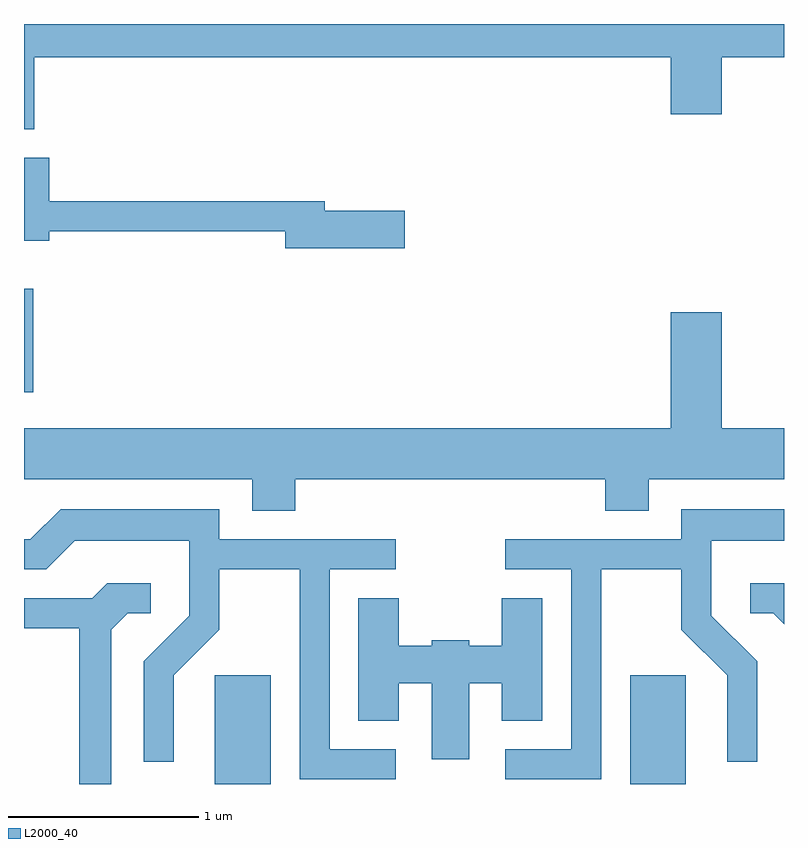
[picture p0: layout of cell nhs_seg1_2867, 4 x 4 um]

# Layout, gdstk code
import gdstk
lib = gdstk.Library(unit=1e-6, precision=1e-09)
def R(c, l, rs):  # rectangles x0, y0, x1, y1
    for r in rs: c.add(gdstk.rectangle(r[:2], r[2:], *l))
def P(c, l, *ps):  # polygons
    for p in ps: c.add(gdstk.Polygon(p, *l))
L2000_40 = (2000, 40)

nhs_seg1_2867 = lib.new_cell('nhs_seg1_2867')
R(nhs_seg1_2867, L2000_40, [(272.616,935.712,272.909,936.284), (274.801,935.712,275.094,936.284), (271.611,937.773,271.659,938.319)])
P(nhs_seg1_2867, L2000_40, [(271.664,939.536),(275.016,939.536),(275.016,939.236),(275.284,939.236),(275.284,939.536),(275.611,939.536),(275.611,939.712),(271.611,939.712),(271.611,939.158),(271.664,939.158)],
  [(273.614,938.729),(273.194,938.729),(273.194,938.779),(271.744,938.779),(271.744,939.009),(271.611,939.009),(271.611,938.571),(271.744,938.571),(271.744,938.621),(272.986,938.621),(272.986,938.531),(273.614,938.531)],
  [(273.039,937.316),(274.671,937.316),(274.671,937.151),(274.899,937.151),(274.899,937.316),(275.611,937.316),(275.611,937.584),(275.284,937.584),(275.284,938.194),(275.016,938.194),(275.016,937.584),(271.611,937.584),(271.611,937.316),(272.811,937.316),(272.811,937.151),(273.039,937.151)],
  [(274.649,936.841),(275.071,936.841),(275.071,936.524),(275.311,936.284),(275.311,935.828),(275.469,935.828),(275.469,936.357),(275.229,936.597),(275.229,936.991),(275.611,936.991),(275.611,937.159),(275.071,937.159),(275.071,936.999),(274.143,936.999),(274.143,936.841),(274.491,936.841),(274.491,935.894),(274.143,935.894),(274.143,935.736),(274.649,935.736)],
  [(273.568,935.894),(273.219,935.894),(273.219,936.841),(273.568,936.841),(273.568,936.999),(272.639,936.999),(272.639,937.159),(271.804,937.159),(271.644,936.999),(271.611,936.999),(271.611,936.841),(271.727,936.841),(271.877,936.991),(272.481,936.991),(272.481,936.597),(272.241,936.357),(272.241,935.828),(272.399,935.828),(272.399,936.284),(272.639,936.524),(272.639,936.841),(273.061,936.841),(273.061,935.736),(273.568,935.736)],
  [(275.611,936.769),(275.433,936.769),(275.433,936.611),(275.554,936.611),(275.611,936.554)],
  [(272.069,936.524),(272.157,936.611),(272.278,936.611),(272.278,936.769),(272.049,936.769),(271.969,936.689),(271.611,936.689),(271.611,936.531),(271.901,936.531),(271.901,935.712),(272.069,935.712)],
  [(273.954,936.241),(274.126,936.241),(274.126,936.046),(274.339,936.046),(274.339,936.689),(274.126,936.689),(274.126,936.439),(273.954,936.439),(273.954,936.469),(273.756,936.469),(273.756,936.439),(273.584,936.439),(273.584,936.689),(273.371,936.689),(273.371,936.046),(273.584,936.046),(273.584,936.241),(273.756,936.241),(273.756,935.841),(273.954,935.841)])

lib.write_gds('nhs_seg1_2867.gds')
